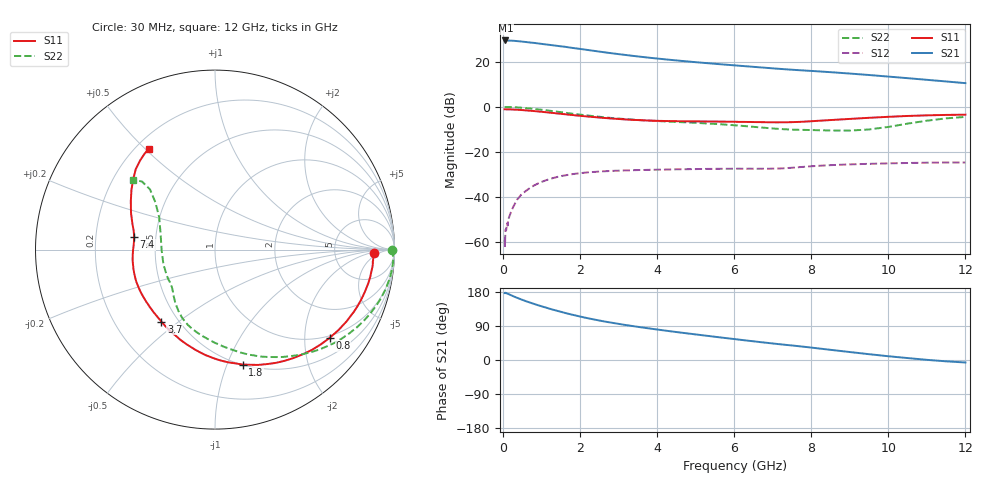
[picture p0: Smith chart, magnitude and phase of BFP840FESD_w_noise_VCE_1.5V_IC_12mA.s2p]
! Infineon Technologies  Discrete & RF Semiconductors
! BFP840FESD
! VCE =  1.5 V,  IC =  12 mA
! Common Emitter S-Parameters:  May 2012
# GHz  S  MA  R  50
!  f  S11  S21  S12  S22
! GHz  MAG  ANG  MAG  ANG  MAG  ANG  MAG  ANG
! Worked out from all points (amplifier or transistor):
!   103 points, 30 MHz to 12 GHz, reference 50 ohm
!   highest |S21| = 29.6 dB at 50 MHz (marker M1)
!   |S21| within 3 dB of that: start of sweep to 1.668 GHz
!   unconditionally stable (mu >= 1): 6.295 GHz to end of sweep
!   at 400 MHz: K = 0.09, MSG = 34.8 dB, |S12| = -40.4 dB
!   at 3.7 GHz: K = 0.59, MSG = 25.0 dB, |S12| = -28.0 dB
!   at 12 GHz: K = 1.15, MAG = 15.3 dB, |S12| = -24.7 dB
!   lowest NFmin = 0.70 dB at 450 MHz
!   S11 on the Smith chart (normalised r, x): 30 MHz: 16, -3; 800 MHz: 0.94, -2.65; 1.8 GHz: 0.50, -1.14; 3.7 GHz: 0.41, -0.43; 7.4 GHz: 0.38, +0.07; 12 GHz: 0.25, +0.52
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0.03  0.8844 -1.3  29.93 176.6  0.0011 89.3  0.9834 -0.1
0.04  0.8838 -1.9  29.95 176.2  0.0008 98.1  0.9869 -0.6
0.05  0.8829 -2.4  30.03 177.4  0.0018 92.1  0.9917 -1.0
0.25  0.8745 -12.3  29.56 168.6  0.0059 82.9  0.9863 -9.4
0.4  0.8594 -19.5  28.83 162.3  0.0096 78.9  0.9681 -15.0
0.6  0.835 -28.6  27.6 154.6  0.0139 72.9  0.9371 -22.1
0.8  0.8065 -37.5  26.47 147.8  0.018 67.6  0.9016 -28.7
1  0.7773 -45.9  25.13 141.4  0.0216 62.7  0.8627 -35.1
1.3  0.7308 -58.0  23.35 132.4  0.0263 56.1  0.8024 -44.1
1.6  0.6858 -69.5  21.71 124.2  0.03 50.2  0.7432 -52.5
1.8  0.6586 -76.5  20.47 119.2  0.0321 46.7  0.7063 -57.9
2.1  0.6211 -86.4  18.9 112.2  0.0344 42.0  0.6574 -65.3
2.5  0.579 -98.1  16.94 104.0  0.0366 37.2  0.6025 -74.1
2.8  0.5526 -106.1  15.65 98.6  0.0377 34.2  0.5681 -79.9
3.7  0.4999 -126.7  12.65 84.5  0.0397 28.8  0.5001 -94.5
4.1  0.4882 -134.8  11.65 79.0  0.0403 27.2  0.4804 -100.0
5  0.4765 -151.0  9.866 67.4  0.0414 25.2  0.4415 -110.8
6.1  0.4652 -168.3  8.268 54.0  0.0423 23.9  0.3846 -123.5
7.4  0.4563 171.0  6.795 39.3  0.0438 28.4  0.3154 -140.5
8.5  0.5102 156.5  5.918 26.8  0.0507 27.8  0.2987 -164.3
10.5  0.6289 134.6  4.354 5.1  0.0566 23.0  0.4249 141.5
12  0.6715 123.0  3.373 -6.6  0.0581 21.8  0.5994 139.4
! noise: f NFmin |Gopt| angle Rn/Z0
0.45  0.7  0.26  5  0.14
0.9  0.73  0.26  11  0.14
1.5  0.75  0.24  16  0.14
1.9  0.75  0.22  26  0.14
2.4  0.76  0.2  35  0.14
3.5  0.77  0.19  59  0.14
5.5  0.82  0.12  111  0.12
8  0.93  0.12  175  0.12
10  1.06  0.24  -129  0.13
12  1.27  0.41  -111  0.15
